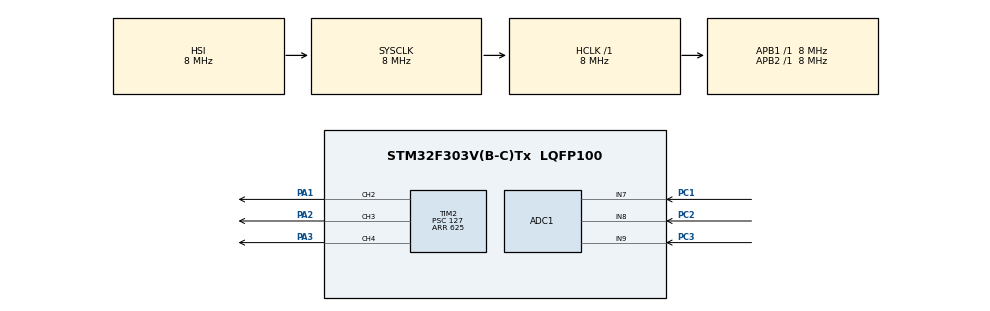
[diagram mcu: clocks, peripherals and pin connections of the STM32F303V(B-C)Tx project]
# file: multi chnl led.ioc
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ADC1.Channel-0\#ChannelRegularConversion=ADC_CHANNEL_7
ADC1.ContinuousConvMode=ENABLE
ADC1.NbrOfConversionFlag=1
ADC1.Offset-0\#ChannelRegularConversion=0
ADC1.OffsetNumber-0\#ChannelRegularConversion=ADC_OFFSET_NONE
ADC1.Rank-0\#ChannelRegularConversion=1
ADC1.SamplingTime-0\#ChannelRegularConversion=ADC_SAMPLETIME_1CYCLE_5
ADC1.master=1
Mcu.Family=STM32F3
Mcu.Name=STM32F303V(B-C)Tx
Mcu.Package=LQFP100
NVIC.PriorityGroup=NVIC_PRIORITYGROUP_4
PA1.Signal=S_TIM2_CH2
PA13.Mode=Serial_Wire
PA13.Signal=SYS_JTMS-SWDIO
PA14.Mode=Serial_Wire
PA14.Signal=SYS_JTCK-SWCLK
PA2.Signal=S_TIM2_CH3
PA3.Signal=S_TIM2_CH4
PC1.Signal=ADCx_IN7
PC2.Signal=ADCx_IN8
PC3.Signal=ADCx_IN9
ProjectManager.HeapSize=0x200
ProjectManager.StackSize=0x400
ProjectManager.TargetToolchain=STM32CubeIDE
RCC.AHBFreq_Value=8000000
RCC.APB1Freq_Value=8000000
RCC.APB2Freq_Value=8000000
RCC.CortexFreq_Value=8000000
RCC.HSE_VALUE=8000000
RCC.HSI_VALUE=8000000
RCC.LSE_VALUE=32768
RCC.SYSCLKFreq_VALUE=8000000
SH.ADCx_IN7.0=ADC1_IN7,IN7-Single-Ended
SH.ADCx_IN8.0=ADC1_IN8,IN8-Single-Ended
SH.ADCx_IN9.0=ADC1_IN9,IN9-Single-Ended
SH.S_TIM2_CH2.0=TIM2_CH2,PWM Generation2 CH2
SH.S_TIM2_CH3.0=TIM2_CH3,PWM Generation3 CH3
SH.S_TIM2_CH4.0=TIM2_CH4,PWM Generation4 CH4
TIM2.Channel-PWM\ Generation2\ CH2=TIM_CHANNEL_2
TIM2.Channel-PWM\ Generation3\ CH3=TIM_CHANNEL_3
TIM2.Channel-PWM\ Generation4\ CH4=TIM_CHANNEL_4
TIM2.Period=625
TIM2.Prescaler=127
VP_TIM2_VS_ClockSourceINT.Mode=Internal
board=custom

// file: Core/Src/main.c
/* USER CODE BEGIN Header */
/**
  ******************************************************************************
  * @file           : main.c
  * @brief          : Main program body
  ******************************************************************************
  * @attention
  *
  * Copyright (c) 2024 STMicroelectronics.
  * All rights reserved.
  *
  * This software is licensed under terms that can be found in the LICENSE file
  * in the root directory of this software component.
  * If no LICENSE file comes with this software, it is provided AS-IS.
  *
  ******************************************************************************
  */
/* USER CODE END Header */
#include "main.h"

ADC_HandleTypeDef hadc1;

TIM_HandleTypeDef htim2;

/* USER CODE BEGIN PV */
uint16_t readValue1;
uint16_t readValue2;
uint16_t readValue3;
uint16_t PWM1;
uint16_t PWM2;
uint16_t PWM3;
ADC_ChannelConfTypeDef sConfigPrivate = {0};

/* USER CODE END PV */

void SystemClock_Config(void);
static void MX_GPIO_Init(void);
static void MX_ADC1_Init(void);
static void MX_TIM2_Init(void);

int main(void)
{

  /* MCU Configuration--------------------------------------------------------*/

  /* Reset of all peripherals, Initializes the Flash interface and the Systick. */
  HAL_Init();

  /* Configure the system clock */
  SystemClock_Config();

  /* Initialize all configured peripherals */
  MX_GPIO_Init();
  MX_ADC1_Init();
  MX_TIM2_Init();
  /* USER CODE BEGIN 2 */
    HAL_TIM_PWM_Start(&htim2, TIM_CHANNEL_2);
    HAL_TIM_PWM_Start(&htim2, TIM_CHANNEL_3);
    HAL_TIM_PWM_Start(&htim2, TIM_CHANNEL_4);

  /* USER CODE END 2 */

  /* Infinite loop */
  /* USER CODE BEGIN WHILE */
  while (1)
  {
	      sConfigPrivate.Rank = ADC_REGULAR_RANK_1;
	  	  sConfigPrivate.SamplingTime = ADC_SAMPLETIME_1CYCLE_5;
	  	  sConfigPrivate.Channel = ADC_CHANNEL_9;
	      HAL_ADC_ConfigChannel(&hadc1, &sConfigPrivate);
	  	  HAL_ADC_Start(&hadc1);
	  	  HAL_ADC_PollForConversion(&hadc1,1000);
	  	  readValue1 = HAL_ADC_GetValue(&hadc1);
	  	  HAL_ADC_Stop(&hadc1);
	  	  sConfigPrivate.Channel = ADC_CHANNEL_8;
	  	  HAL_ADC_ConfigChannel(&hadc1, &sConfigPrivate);
	  	  HAL_ADC_Start(&hadc1);
	  	  HAL_ADC_PollForConversion(&hadc1,1000);
	  	  readValue2 = HAL_ADC_GetValue(&hadc1);
	  	  HAL_ADC_Stop(&hadc1);
	  	  sConfigPrivate.Channel = ADC_CHANNEL_7;
	  	  HAL_ADC_ConfigChannel(&hadc1, &sConfigPrivate);
	  	  HAL_ADC_Start(&hadc1);
	  	  HAL_ADC_PollForConversion(&hadc1,1000);
	  	  readValue3 = HAL_ADC_GetValue(&hadc1);
	  	  HAL_ADC_Stop(&hadc1);
	  	  PWM1 = readValue1/7;
	  	  PWM2 = readValue2/7;
	  	  PWM3 = readValue3/7;
	  	  __HAL_TIM_SET_COMPARE(&htim2,TIM_CHANNEL_2, PWM1);
	  	  __HAL_TIM_SET_COMPARE(&htim2,TIM_CHANNEL_3, PWM2);
	  	  __HAL_TIM_SET_COMPARE(&htim2,TIM_CHANNEL_4, PWM3);
	  	  HAL_Delay(10);

    /* USER CODE END WHILE */

  }
}

void SystemClock_Config(void)
{
  RCC_OscInitTypeDef RCC_OscInitStruct = {0};
  RCC_ClkInitTypeDef RCC_ClkInitStruct = {0};
  RCC_PeriphCLKInitTypeDef PeriphClkInit = {0};

  /** Initializes the RCC Oscillators according to the specified parameters
  * in the RCC_OscInitTypeDef structure.
  */
  RCC_OscInitStruct.OscillatorType = RCC_OSCILLATORTYPE_HSI;
  RCC_OscInitStruct.HSIState = RCC_HSI_ON;
  RCC_OscInitStruct.HSICalibrationValue = RCC_HSICALIBRATION_DEFAULT;
  RCC_OscInitStruct.PLL.PLLState = RCC_PLL_ON;
  RCC_OscInitStruct.PLL.PLLSource = RCC_PLLSOURCE_HSI;
  RCC_OscInitStruct.PLL.PLLMUL = RCC_PLL_MUL2;
  if (HAL_RCC_OscConfig(&RCC_OscInitStruct) != HAL_OK)
  {
    Error_Handler();
  }

  /** Initializes the CPU, AHB and APB buses clocks
  */
  RCC_ClkInitStruct.ClockType = RCC_CLOCKTYPE_HCLK|RCC_CLOCKTYPE_SYSCLK
                              |RCC_CLOCKTYPE_PCLK1|RCC_CLOCKTYPE_PCLK2;
  RCC_ClkInitStruct.SYSCLKSource = RCC_SYSCLKSOURCE_HSI;
  RCC_ClkInitStruct.AHBCLKDivider = RCC_SYSCLK_DIV1;
  RCC_ClkInitStruct.APB1CLKDivider = RCC_HCLK_DIV1;
  RCC_ClkInitStruct.APB2CLKDivider = RCC_HCLK_DIV1;

  if (HAL_RCC_ClockConfig(&RCC_ClkInitStruct, FLASH_LATENCY_0) != HAL_OK)
  {
    Error_Handler();
  }
  PeriphClkInit.PeriphClockSelection = RCC_PERIPHCLK_ADC12;
  PeriphClkInit.Adc12ClockSelection = RCC_ADC12PLLCLK_DIV1;
  if (HAL_RCCEx_PeriphCLKConfig(&PeriphClkInit) != HAL_OK)
  {
    Error_Handler();
  }
}

static void MX_ADC1_Init(void)
{

  ADC_MultiModeTypeDef multimode = {0};
  ADC_ChannelConfTypeDef sConfig = {0};

  /** Common config
  */
  hadc1.Instance = ADC1;
  hadc1.Init.ClockPrescaler = ADC_CLOCK_ASYNC_DIV1;
  hadc1.Init.Resolution = ADC_RESOLUTION_12B;
  hadc1.Init.ScanConvMode = ADC_SCAN_DISABLE;
  hadc1.Init.ContinuousConvMode = ENABLE;
  hadc1.Init.DiscontinuousConvMode = DISABLE;
  hadc1.Init.ExternalTrigConvEdge = ADC_EXTERNALTRIGCONVEDGE_NONE;
  hadc1.Init.ExternalTrigConv = ADC_SOFTWARE_START;
  hadc1.Init.DataAlign = ADC_DATAALIGN_RIGHT;
  hadc1.Init.NbrOfConversion = 1;
  hadc1.Init.DMAContinuousRequests = DISABLE;
  hadc1.Init.EOCSelection = ADC_EOC_SINGLE_CONV;
  hadc1.Init.LowPowerAutoWait = DISABLE;
  hadc1.Init.Overrun = ADC_OVR_DATA_OVERWRITTEN;
  if (HAL_ADC_Init(&hadc1) != HAL_OK)
  {
    Error_Handler();
  }

  /** Configure the ADC multi-mode
  */
  multimode.Mode = ADC_MODE_INDEPENDENT;
  if (HAL_ADCEx_MultiModeConfigChannel(&hadc1, &multimode) != HAL_OK)
  {
    Error_Handler();
  }

  /** Configure Regular Channel
  */
  sConfig.Channel = ADC_CHANNEL_7;
  sConfig.Rank = ADC_REGULAR_RANK_1;
  sConfig.SingleDiff = ADC_SINGLE_ENDED;
  sConfig.SamplingTime = ADC_SAMPLETIME_1CYCLE_5;
  sConfig.OffsetNumber = ADC_OFFSET_NONE;
  sConfig.Offset = 0;
  if (HAL_ADC_ConfigChannel(&hadc1, &sConfig) != HAL_OK)
  {
    Error_Handler();
  }

}

static void MX_TIM2_Init(void)
{

  TIM_ClockConfigTypeDef sClockSourceConfig = {0};
  TIM_MasterConfigTypeDef sMasterConfig = {0};
  TIM_OC_InitTypeDef sConfigOC = {0};

  htim2.Instance = TIM2;
  htim2.Init.Prescaler = 127;
  htim2.Init.CounterMode = TIM_COUNTERMODE_UP;
  htim2.Init.Period = 625;
  htim2.Init.ClockDivision = TIM_CLOCKDIVISION_DIV1;
  htim2.Init.AutoReloadPreload = TIM_AUTORELOAD_PRELOAD_DISABLE;
  if (HAL_TIM_Base_Init(&htim2) != HAL_OK)
  {
    Error_Handler();
  }
  sClockSourceConfig.ClockSource = TIM_CLOCKSOURCE_INTERNAL;
  if (HAL_TIM_ConfigClockSource(&htim2, &sClockSourceConfig) != HAL_OK)
  {
    Error_Handler();
  }
  if (HAL_TIM_PWM_Init(&htim2) != HAL_OK)
  {
    Error_Handler();
  }
  sMasterConfig.MasterOutputTrigger = TIM_TRGO_RESET;
  sMasterConfig.MasterSlaveMode = TIM_MASTERSLAVEMODE_DISABLE;
  if (HAL_TIMEx_MasterConfigSynchronization(&htim2, &sMasterConfig) != HAL_OK)
  {
    Error_Handler();
  }
  sConfigOC.OCMode = TIM_OCMODE_PWM1;
  sConfigOC.Pulse = 0;
  sConfigOC.OCPolarity = TIM_OCPOLARITY_HIGH;
  sConfigOC.OCFastMode = TIM_OCFAST_DISABLE;
  if (HAL_TIM_PWM_ConfigChannel(&htim2, &sConfigOC, TIM_CHANNEL_2) != HAL_OK)
  {
    Error_Handler();
  }
  if (HAL_TIM_PWM_ConfigChannel(&htim2, &sConfigOC, TIM_CHANNEL_3) != HAL_OK)
  {
    Error_Handler();
  }
  if (HAL_TIM_PWM_ConfigChannel(&htim2, &sConfigOC, TIM_CHANNEL_4) != HAL_OK)
  {
    Error_Handler();
  }
  HAL_TIM_MspPostInit(&htim2);

}

static void MX_GPIO_Init(void)
{

  /* GPIO Ports Clock Enable */
  __HAL_RCC_GPIOC_CLK_ENABLE();
  __HAL_RCC_GPIOA_CLK_ENABLE();

}

void Error_Handler(void)
{
  __disable_irq();
  while (1)
  {
  }
}
